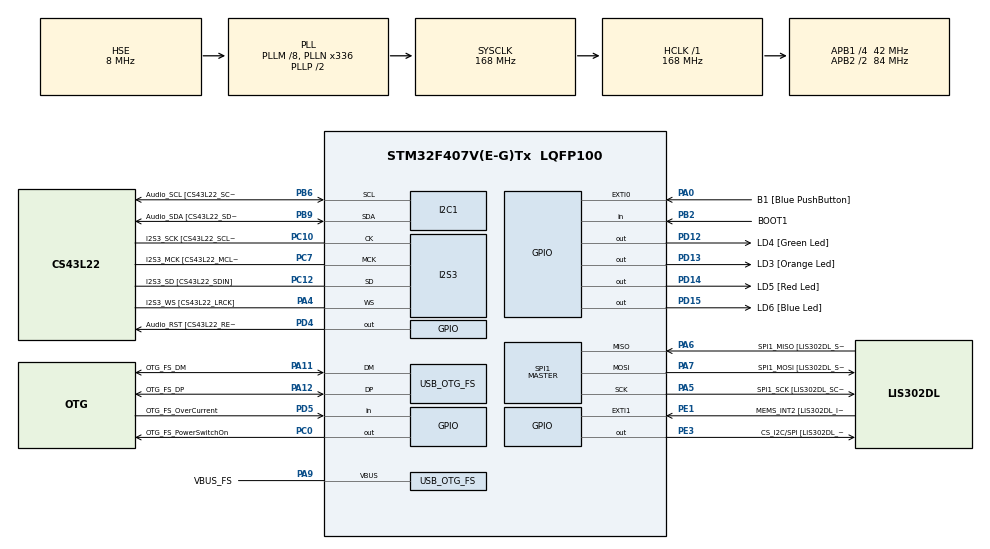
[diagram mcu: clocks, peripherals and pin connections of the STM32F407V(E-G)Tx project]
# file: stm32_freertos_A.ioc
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FREERTOS.Tasks01=defaultTask,24,128,StartDefaultTask,Default,NULL,Dynamic,NULL,NULL
I2S3.AudioFreq-Half_Duplex_Master=I2S_AUDIOFREQ_96K
I2S3.ErrorAudioFreq=-2.34 %
I2S3.ErrorAudioFreq-Half_Duplex_Master=0.8 %
I2S3.FullDuplexMode=I2S_FULLDUPLEXMODE_DISABLE
I2S3.Instance=SPI$Index
I2S3.RealAudioFreq=93.75 KHz
I2S3.RealAudioFreq-Half_Duplex_Master=96.774 KHz
I2S3.VirtualMode=I2S_MODE_MASTER
Mcu.Family=STM32F4
Mcu.Name=STM32F407V(E-G)Tx
Mcu.Package=LQFP100
NVIC.OTG_FS_IRQn=true\:0\:0\:false\:false\:true\:true\:true\:true
NVIC.PriorityGroup=NVIC_PRIORITYGROUP_4
PA0-WKUP.GPIO_Label=B1 [Blue PushButton]
PA0-WKUP.GPIO_ModeDefaultEXTI=GPIO_MODE_EVT_RISING
PA0-WKUP.GPIO_PuPd=GPIO_NOPULL
PA0-WKUP.Signal=GPXTI0
PA10.GPIO_Label=OTG_FS_ID
PA10.GPIO_Mode=GPIO_MODE_AF_PP
PA10.GPIO_PuPd=GPIO_NOPULL
PA10.GPIO_Speed=GPIO_SPEED_FREQ_LOW
PA10.Signal=USB_OTG_FS_ID
PA11.GPIO_Label=OTG_FS_DM
PA11.GPIO_Mode=GPIO_MODE_AF_PP
PA11.GPIO_PuPd=GPIO_NOPULL
PA11.GPIO_Speed=GPIO_SPEED_FREQ_LOW
PA11.Mode=Host_Only
PA11.Signal=USB_OTG_FS_DM
PA12.GPIO_Label=OTG_FS_DP
PA12.GPIO_Mode=GPIO_MODE_AF_PP
PA12.GPIO_PuPd=GPIO_NOPULL
PA12.GPIO_Speed=GPIO_SPEED_FREQ_LOW
PA12.Mode=Host_Only
PA12.Signal=USB_OTG_FS_DP
PA13.GPIO_Label=SWDIO
PA13.Mode=Serial_Wire
PA13.Signal=SYS_JTMS-SWDIO
PA14.GPIO_Label=SWCLK
PA14.Mode=Serial_Wire
PA14.Signal=SYS_JTCK-SWCLK
PA4.GPIO_Label=I2S3_WS [CS43L22_LRCK]
PA4.GPIO_Mode=GPIO_MODE_AF_PP
PA4.GPIO_PuPd=GPIO_NOPULL
PA4.GPIO_Speed=GPIO_SPEED_FREQ_LOW
PA4.Mode=Half_Duplex_Master
PA4.Signal=I2S3_WS
PA5.GPIO_Label=SPI1_SCK [LIS302DL_SCL/SPC]
PA5.GPIO_Mode=GPIO_MODE_AF_PP
PA5.GPIO_PuPd=GPIO_NOPULL
PA5.GPIO_Speed=GPIO_SPEED_FREQ_LOW
PA5.Mode=Full_Duplex_Master
PA5.Signal=SPI1_SCK
PA6.GPIO_Label=SPI1_MISO [LIS302DL_SDO]
PA6.GPIO_Mode=GPIO_MODE_AF_PP
PA6.GPIO_PuPd=GPIO_NOPULL
PA6.GPIO_Speed=GPIO_SPEED_FREQ_LOW
PA6.Mode=Full_Duplex_Master
PA6.Signal=SPI1_MISO
PA7.GPIO_Label=SPI1_MOSI [LIS302DL_SDA/SDI/SDO]
PA7.GPIO_Mode=GPIO_MODE_AF_PP
PA7.GPIO_PuPd=GPIO_NOPULL
PA7.GPIO_Speed=GPIO_SPEED_FREQ_LOW
PA7.Mode=Full_Duplex_Master
PA7.Signal=SPI1_MOSI
PA9.GPIO_Label=VBUS_FS
PA9.GPIO_Mode=GPIO_MODE_INPUT
PA9.GPIO_PuPd=GPIO_NOPULL
PA9.Mode=Activate_VBUS
PA9.Signal=USB_OTG_FS_VBUS
PB10.GPIO_Label=CLK_IN [MP45DT02_CLK]
PB10.GPIO_Mode=GPIO_MODE_AF_PP
PB10.GPIO_PuPd=GPIO_NOPULL
PB10.GPIO_Speed=GPIO_SPEED_FREQ_LOW
PB10.Signal=I2S2_CK
PB2.GPIO_Label=BOOT1
PB2.GPIO_Mode=GPIO_MODE_INPUT
PB2.GPIO_PuPd=GPIO_NOPULL
PB2.Signal=GPIO_Input
PB3.GPIO_Label=SWO
PB3.Signal=SYS_JTDO-SWO
PB6.GPIO_Label=Audio_SCL [CS43L22_SCL]
PB6.GPIO_Mode=GPIO_MODE_AF_OD
PB6.GPIO_Pu=GPIO_PULLUP
PB6.GPIO_PuPd=GPIO_NOPULL
PB6.GPIO_Speed=GPIO_SPEED_FREQ_LOW
PB6.Mode=I2C
PB6.Signal=I2C1_SCL
PB9.GPIO_Label=Audio_SDA [CS43L22_SDA]
PB9.GPIO_Mode=GPIO_MODE_AF_OD
PB9.GPIO_Pu=GPIO_PULLUP
PB9.GPIO_PuPd=GPIO_NOPULL
PB9.GPIO_Speed=GPIO_SPEED_FREQ_LOW
PB9.Mode=I2C
PB9.Signal=I2C1_SDA
PC0.GPIO_Label=OTG_FS_PowerSwitchOn
PC0.GPIO_PuPd=GPIO_NOPULL
PC0.GPIO_Speed=GPIO_SPEED_FREQ_LOW
PC0.PinState=GPIO_PIN_SET
PC0.Signal=GPIO_Output
PC10.GPIO_Label=I2S3_SCK [CS43L22_SCLK]
PC10.GPIO_Mode=GPIO_MODE_AF_PP
PC10.GPIO_PuPd=GPIO_NOPULL
PC10.GPIO_Speed=GPIO_SPEED_FREQ_LOW
PC10.Mode=Half_Duplex_Master
PC10.Signal=I2S3_CK
PC12.GPIO_Label=I2S3_SD [CS43L22_SDIN]
PC12.GPIO_Mode=GPIO_MODE_AF_PP
PC12.GPIO_PuPd=GPIO_NOPULL
PC12.GPIO_Speed=GPIO_SPEED_FREQ_LOW
PC12.Mode=Half_Duplex_Master
PC12.Signal=I2S3_SD
PC14-OSC32_IN.GPIO_Label=PC14-OSC32_IN
PC14-OSC32_IN.Mode=LSE-External-Oscillator
PC14-OSC32_IN.Signal=RCC_OSC32_IN
PC15-OSC32_OUT.GPIO_Label=PC15-OSC32_OUT
PC15-OSC32_OUT.Mode=LSE-External-Oscillator
PC15-OSC32_OUT.Signal=RCC_OSC32_OUT
PC3.GPIO_Label=PDM_OUT [MP45DT02_DOUT]
PC3.GPIO_Mode=GPIO_MODE_AF_PP
PC3.GPIO_PuPd=GPIO_NOPULL
PC3.GPIO_Speed=GPIO_SPEED_FREQ_LOW
PC3.Signal=I2S2_SD
PC7.GPIO_Label=I2S3_MCK [CS43L22_MCLK]
PC7.GPIO_Mode=GPIO_MODE_AF_PP
PC7.GPIO_PuPd=GPIO_NOPULL
PC7.GPIO_Speed=GPIO_SPEED_FREQ_LOW
PC7.Mode=Master_Clock_Activated
PC7.Signal=I2S3_MCK
PD12.GPIO_Label=LD4 [Green Led]
PD12.GPIO_PuPd=GPIO_NOPULL
PD12.GPIO_Speed=GPIO_SPEED_FREQ_LOW
PD12.Signal=GPIO_Output
PD13.GPIO_Label=LD3 [Orange Led]
PD13.GPIO_PuPd=GPIO_NOPULL
PD13.GPIO_Speed=GPIO_SPEED_FREQ_LOW
PD13.Signal=GPIO_Output
PD14.GPIO_Label=LD5 [Red Led]
PD14.GPIO_PuPd=GPIO_NOPULL
PD14.GPIO_Speed=GPIO_SPEED_FREQ_LOW
PD14.Signal=GPIO_Output
PD15.GPIO_Label=LD6 [Blue Led]
PD15.GPIO_PuPd=GPIO_NOPULL
PD15.GPIO_Speed=GPIO_SPEED_FREQ_LOW
PD15.Signal=GPIO_Output
PD4.GPIO_Label=Audio_RST [CS43L22_RESET]
PD4.GPIO_PuPd=GPIO_NOPULL
PD4.GPIO_Speed=GPIO_SPEED_FREQ_LOW
PD4.Signal=GPIO_Output
PD5.GPIO_Label=OTG_FS_OverCurrent
PD5.GPIO_Mode=GPIO_MODE_INPUT
PD5.GPIO_PuPd=GPIO_NOPULL
PD5.Signal=GPIO_Input
PE1.GPIO_Label=MEMS_INT2 [LIS302DL_INT2]
PE1.GPIO_ModeDefaultEXTI=GPIO_MODE_EVT_RISING
PE1.GPIO_PuPd=GPIO_NOPULL
PE1.Signal=GPXTI1
PE3.GPIO_Label=CS_I2C/SPI [LIS302DL_CS_I2C/SPI]
PE3.GPIO_PuPd=GPIO_NOPULL
PE3.GPIO_Speed=GPIO_SPEED_FREQ_LOW
PE3.Signal=GPIO_Output
PH0-OSC_IN.GPIO_Label=PH0-OSC_IN
PH0-OSC_IN.Mode=HSE-External-Oscillator
PH0-OSC_IN.Signal=RCC_OSC_IN
PH1-OSC_OUT.GPIO_Label=PH1-OSC_OUT
PH1-OSC_OUT.Mode=HSE-External-Oscillator
PH1-OSC_OUT.Signal=RCC_OSC_OUT
ProjectManager.HeapSize=0x200
ProjectManager.StackSize=0x400
ProjectManager.TargetToolchain=STM32CubeIDE
RCC.48MHZClocksFreq_Value=48000000
RCC.AHBFreq_Value=168000000
RCC.APB1CLKDivider=RCC_HCLK_DIV4
RCC.APB1Freq_Value=42000000
RCC.APB1TimFreq_Value=84000000
RCC.APB2CLKDivider=RCC_HCLK_DIV2
RCC.APB2Freq_Value=84000000
RCC.APB2TimFreq_Value=168000000
RCC.CortexFreq_Value=168000000
RCC.HCLKFreq_Value=168000000
RCC.HSE_VALUE=8000000
RCC.HSI_VALUE=16000000
RCC.PLLM=8
RCC.PLLN=336
RCC.PLLQ=7
RCC.SYSCLKFreq_VALUE=168000000
RCC.SYSCLKSource=RCC_SYSCLKSOURCE_PLLCLK
RCC.VCOOutputFreq_Value=336000000
SPI1.BaudRatePrescaler-Full_Duplex_Master=SPI_BAUDRATEPRESCALER_2
SPI1.CalculateBaudRate-Full_Duplex_Master=42.0 MBits/s
SPI1.Direction=SPI_DIRECTION_2LINES
SPI1.Mode=SPI_MODE_MASTER
SPI1.Mode-Full_Duplex_Master=SPI_MODE_MASTER
SPI1.VirtualType=VM_MASTER
USB_HOST.BSP.number=1
USB_HOST.USBH_HandleTypeDef-CDC_FS=hUsbHostFS
USB_HOST.VirtualModeFS=Cdc
USB_HOST0.BSP.STBoard=false
USB_HOST0.BSP.api=Unknown
USB_HOST0.BSP.instance=PC0
USB_HOST0.BSP.ip=GPIO
USB_HOST0.BSP.mode=Output
USB_HOST0.BSP.name=Drive_VBUS_FS
USB_HOST0.BSP.solution=PC0
USB_OTG_FS.VirtualMode=Host_Only
USB_OTG_FS.phy_itface=HCD_PHY_EMBEDDED
VP_USB_HOST_VS_USB_HOST_CDC_FS.Mode=CDC_FS
board=STM32F407G-DISC1

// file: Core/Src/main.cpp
/* USER CODE BEGIN Header */
/**
  ******************************************************************************
  * @file           : main.c
  * @brief          : Main program body
  ******************************************************************************
  * @attention
  *
  * Copyright (c) 2026 STMicroelectronics.
  * All rights reserved.
  *
  * This software is licensed under terms that can be found in the LICENSE file
  * in the root directory of this software component.
  * If no LICENSE file comes with this software, it is provided AS-IS.
  *
  * C/C++ FreeRtos app on: STM32F407G-DISC1
  *
  * Built in LEDS:
  *   Green: PD12
  *   Orange: PD13
  *   Red:    PD14
  *   Blue:   PD15
  *
  *
  *   * FDTI USB-SERIAL converter
  *
  * TXD	PA3 (USART2_RX) - orange
	* RXD	PA2 (USART2_TX) - yellow
	* GND	GND on STM32 board - black
  *
  * # start picocom on Linux to connect to the STM32 board via USB-Serial converter:
  * picocom -b 115200 --omap crlf --imap lfcrlf /dev/ttyUSB0
  * picocom -b 115200 --omap crlf --imap lfcrlf /dev/ttyUSB0
  * (picocom -b 115200 /dev/ttyUSB0)
  *
  * # exit picocom:
  * Exit with Ctrl-A then Ctrl-X.
  *
  * DBG01T347005hello       (Ctrl+C, then right click in the picocom window to paste the text)
  *
  * -------------------------------------------
  * // node js SerLink interafce
  *
  * rob@debian:~/Software/Projects/Arduino/ArdMod/Arduino1/PC/Transport/node_js$
  * npm run quick-start
  *
  * // code
  * const portName = "/dev/ttyUSB0"; // linux usb-serial adapter (STM32 uart etc.)
    const baudRate = 115200; // STM32 uart

    stm32SerLink(portName, baudRate).catch(err => {
      console.error("Error in stm32SerLink:", err);
    });
  *
  ******************************************************************************
  */
/* USER CODE END Header */
#include "main.h"
#include "usb_host.h"
#include "lib.hpp"
#include "timer2.h"
#include "timer3.h"
#include "uart2.h"
#include "queue.h"
#include "Reader.hpp"
#include "Transport.hpp"
#include "Button.hpp"
#include "Led.hpp"
#include "PWM.hpp"
#include "TC78H611FNG.hpp"
#include <cstdio>
#include <string.h>
#include <stdlib.h>

I2C_HandleTypeDef hi2c1;

I2S_HandleTypeDef hi2s3;

SPI_HandleTypeDef hspi1;

//--------------------------------------------------------------
// Uart2 Rx queue for FreeRTOS - created in uart2_init()
StaticQueue_t uart2StaticQueue;
char uart2QueueStorageArea[UART2_QUEUE_LENGTH * sizeof(UartMessage_t)];
QueueHandle_t uart2Queue;

// Uart2 SerLink writer and reader
SerLink::Writer writer0(WRITER_CONFIG__WRITER0_ID);
SerLink::Reader reader0(READER_CONFIG__READER0_ID);

// SerLink0 transport dispatch queue - created here (rather than owned
// internally by Transport) and handed in via transport0.init()
#define TRANSPORT0_QUEUE_LENGTH 5
StaticQueue_t transport0StaticQueue;
uint8_t transport0QueueStorageArea[TRANSPORT0_QUEUE_LENGTH * sizeof(SerLink::FrameMsg)];
QueueHandle_t transport0Queue;

SerLink::Transport transport0(&writer0, &reader0);

// User button (PA0), active high
Button button0(B1_GPIO_Port, B1_Pin, true);

// Board LEDs (GPIOD)
Led ledGreen(GPIOD, GPIO_PIN_12);
Led ledOrange(GPIOD, GPIO_PIN_13);
Led ledRed(GPIOD, GPIO_PIN_14);
Led ledBlue(GPIOD, GPIO_PIN_15);

// PWM module
 PWM pwm0(GPIOC, GPIO_PIN_6, PWM_FREQ_1KHZ);
//PWM pwm0(GPIOD, GPIO_PIN_12, PWM_FREQ_1KHZ);

TC78H611FNG motor0(GPIOC, GPIO_PIN_8, GPIOC, GPIO_PIN_9, PWM_FREQ_1KHZ);
//--------------------------------------------------------------

/* Definitions for defaultTask */
osThreadId_t defaultTaskHandle;
const osThreadAttr_t defaultTask_attributes = {
  .name = "defaultTask",
  .stack_size = 512 * 4,
  .priority = (osPriority_t) osPriorityNormal,
};
/* Definitions for ledTask */
osThreadId_t ledTaskHandle;
const osThreadAttr_t ledTask_attributes = {
  .name = "ledTask",
  .stack_size = 128 * 4,
  .priority = (osPriority_t) osPriorityNormal,
};
/* Definitions for uartTask */
osThreadId_t uartTaskHandle;
const osThreadAttr_t uartTask_attributes = {
  .name = "uartTask",
  .stack_size = 512 * 4,
  .priority = (osPriority_t) osPriorityNormal,
};
/* Definitions for writer0Task */
osThreadId_t writer0TaskHandle;
const osThreadAttr_t writer0Task_attributes = {
  .name = "writer0Task",
  .stack_size = 512 * 4,
  .priority = (osPriority_t) osPriorityNormal,
};

/* Definitions for reader0Task */
osThreadId_t reader0TaskHandle;
const osThreadAttr_t reader0Task_attributes = {
  .name = "reader0Task",
  .stack_size = 512 * 4,
  .priority = (osPriority_t) osPriorityNormal,
};

/* Definitions for serLink0Task */
osThreadId_t serLink0TaskHandle;
const osThreadAttr_t serLink0Task_attributes = {
  .name = "serLink0Task",
  .stack_size = 512 * 4,
  .priority = (osPriority_t) osPriorityNormal,
};

/* Definitions for buttonTask */
osThreadId_t buttonTaskHandle;
const osThreadAttr_t buttonTask_attributes = {
  .name = "buttonTask",
  .stack_size = 128 * 4,
  .priority = (osPriority_t) osPriorityNormal,
};

void SystemClock_Config(void);
static void MX_GPIO_Init(void);
static void MX_I2C1_Init(void);
static void MX_I2S3_Init(void);
static void MX_SPI1_Init(void);
void MX_USB_HOST_Process(void);
void StartDefaultTask(void *argument);
void StartLedTask(void *argument);
void startUartTask(void *argument);
void startWriter0Task(void *argument);
void startReader0Task(void *argument);
void startSerLink0Task(void *argument);
void startButtonTask(void *argument);

// This is called by transport0 when a frame is received.
void transport0ReceiveCallback(const char* data, uint16_t dataLen){ ledOrange.flash(1, 1, 0, true);}

// This is called by transport0 when an ack frame is received for a frame that was sent with ack=true.
void transport0AckCallback(const char* data, uint16_t dataLen){ ledBlue.flash(1, 1, 0, true);}

// Populates the ack packet payload, for the debug socket, if the received frame has a certain payload.
bool debugSockInstantHandler(SerLink::Frame &rxFrame, uint16_t* dataLen, char* data);

void pwm00SockRxCallback(const char* data, uint16_t dataLen);

void motor0SockRxCallback(const char* data, uint16_t dataLen);

int main(void)
{

  /* MCU Configuration--------------------------------------------------------*/

  /* Reset of all peripherals, Initializes the Flash interface and the Systick. */
  HAL_Init();

  /* Configure the system clock */
  SystemClock_Config();

  /* Initialize all configured peripherals */
  MX_GPIO_Init();
  MX_I2C1_Init();
  MX_I2S3_Init();
  MX_SPI1_Init();
  MX_USB_HOST_Init();
  /* USER CODE BEGIN 2 */
  timer2_init();
  timer3_init();
  uart2_init();
  /* USER CODE END 2 */

  /* Init scheduler */
  osKernelInitialize();

  /* USER CODE BEGIN RTOS_QUEUES */
  /* add queues, ... */
  // Created synchronously here (rather than inside startSerLink0Task) so
  // transport0.queue is guaranteed valid before any task - including
  // startReader0Task, which passes it to reader0.init() - can run.
  transport0Queue = xQueueCreateStatic(TRANSPORT0_QUEUE_LENGTH, sizeof(SerLink::FrameMsg),
    transport0QueueStorageArea, &transport0StaticQueue);
  transport0.init(transport0Queue, transport0ReceiveCallback, transport0AckCallback);

  writer0.init();
  reader0.init(uart2Queue, &writer0, transport0.queue);

  /* USER CODE END RTOS_QUEUES */

  /* Create the thread(s) */
  /* creation of defaultTask */
  defaultTaskHandle = osThreadNew(StartDefaultTask, NULL, &defaultTask_attributes);

  /* creation of ledTask */
  ledTaskHandle = osThreadNew(StartLedTask, NULL, &ledTask_attributes);

  /* creation of uartTask */
  //uartTaskHandle = osThreadNew(startUartTask, NULL, &uartTask_attributes);

  /* creation of writer0Task */
  writer0TaskHandle = osThreadNew(startWriter0Task, NULL, &writer0Task_attributes);

  reader0TaskHandle = osThreadNew(startReader0Task, NULL, &reader0Task_attributes);

  serLink0TaskHandle = osThreadNew(startSerLink0Task, NULL, &serLink0Task_attributes);

  buttonTaskHandle = osThreadNew(startButtonTask, NULL, &buttonTask_attributes);

  /* Start scheduler */
  osKernelStart();

  /* We should never get here as control is now taken by the scheduler */
  /* Infinite loop */
  while (1)
  {

  }
}

void SystemClock_Config(void)
{
  RCC_OscInitTypeDef RCC_OscInitStruct = {0};
  RCC_ClkInitTypeDef RCC_ClkInitStruct = {0};

  /** Configure the main internal regulator output voltage
  */
  __HAL_RCC_PWR_CLK_ENABLE();
  __HAL_PWR_VOLTAGESCALING_CONFIG(PWR_REGULATOR_VOLTAGE_SCALE1);

  /** Initializes the RCC Oscillators according to the specified parameters
  * in the RCC_OscInitTypeDef structure.
  */
  RCC_OscInitStruct.OscillatorType = RCC_OSCILLATORTYPE_HSE;
  RCC_OscInitStruct.HSEState = RCC_HSE_ON;
  RCC_OscInitStruct.PLL.PLLState = RCC_PLL_ON;
  RCC_OscInitStruct.PLL.PLLSource = RCC_PLLSOURCE_HSE;
  RCC_OscInitStruct.PLL.PLLM = 8;
  RCC_OscInitStruct.PLL.PLLN = 336;
  RCC_OscInitStruct.PLL.PLLP = RCC_PLLP_DIV2;
  RCC_OscInitStruct.PLL.PLLQ = 7;
  if (HAL_RCC_OscConfig(&RCC_OscInitStruct) != HAL_OK)
  {
    Error_Handler();
  }

  /** Initializes the CPU, AHB and APB buses clocks
  */
  RCC_ClkInitStruct.ClockType = RCC_CLOCKTYPE_HCLK|RCC_CLOCKTYPE_SYSCLK
                              |RCC_CLOCKTYPE_PCLK1|RCC_CLOCKTYPE_PCLK2;
  RCC_ClkInitStruct.SYSCLKSource = RCC_SYSCLKSOURCE_PLLCLK;
  RCC_ClkInitStruct.AHBCLKDivider = RCC_SYSCLK_DIV1;
  RCC_ClkInitStruct.APB1CLKDivider = RCC_HCLK_DIV4;
  RCC_ClkInitStruct.APB2CLKDivider = RCC_HCLK_DIV2;

  if (HAL_RCC_ClockConfig(&RCC_ClkInitStruct, FLASH_LATENCY_5) != HAL_OK)
  {
    Error_Handler();
  }
}

static void MX_I2C1_Init(void)
{

  hi2c1.Instance = I2C1;
  hi2c1.Init.ClockSpeed = 100000;
  hi2c1.Init.DutyCycle = I2C_DUTYCYCLE_2;
  hi2c1.Init.OwnAddress1 = 0;
  hi2c1.Init.AddressingMode = I2C_ADDRESSINGMODE_7BIT;
  hi2c1.Init.DualAddressMode = I2C_DUALADDRESS_DISABLE;
  hi2c1.Init.OwnAddress2 = 0;
  hi2c1.Init.GeneralCallMode = I2C_GENERALCALL_DISABLE;
  hi2c1.Init.NoStretchMode = I2C_NOSTRETCH_DISABLE;
  if (HAL_I2C_Init(&hi2c1) != HAL_OK)
  {
    Error_Handler();
  }

}

static void MX_I2S3_Init(void)
{

  hi2s3.Instance = SPI3;
  hi2s3.Init.Mode = I2S_MODE_MASTER_TX;
  hi2s3.Init.Standard = I2S_STANDARD_PHILIPS;
  hi2s3.Init.DataFormat = I2S_DATAFORMAT_16B;
  hi2s3.Init.MCLKOutput = I2S_MCLKOUTPUT_ENABLE;
  hi2s3.Init.AudioFreq = I2S_AUDIOFREQ_96K;
  hi2s3.Init.CPOL = I2S_CPOL_LOW;
  hi2s3.Init.ClockSource = I2S_CLOCK_PLL;
  hi2s3.Init.FullDuplexMode = I2S_FULLDUPLEXMODE_DISABLE;
  if (HAL_I2S_Init(&hi2s3) != HAL_OK)
  {
    Error_Handler();
  }

}

static void MX_SPI1_Init(void)
{

  /* SPI1 parameter configuration*/
  hspi1.Instance = SPI1;
  hspi1.Init.Mode = SPI_MODE_MASTER;
  hspi1.Init.Direction = SPI_DIRECTION_2LINES;
  hspi1.Init.DataSize = SPI_DATASIZE_8BIT;
  hspi1.Init.CLKPolarity = SPI_POLARITY_LOW;
  hspi1.Init.CLKPhase = SPI_PHASE_1EDGE;
  hspi1.Init.NSS = SPI_NSS_SOFT;
  hspi1.Init.BaudRatePrescaler = SPI_BAUDRATEPRESCALER_2;
  hspi1.Init.FirstBit = SPI_FIRSTBIT_MSB;
  hspi1.Init.TIMode = SPI_TIMODE_DISABLE;
  hspi1.Init.CRCCalculation = SPI_CRCCALCULATION_DISABLE;
  hspi1.Init.CRCPolynomial = 10;
  if (HAL_SPI_Init(&hspi1) != HAL_OK)
  {
    Error_Handler();
  }

}

static void MX_GPIO_Init(void)
{
  GPIO_InitTypeDef GPIO_InitStruct = {0};

  /* GPIO Ports Clock Enable */
  __HAL_RCC_GPIOE_CLK_ENABLE();
  __HAL_RCC_GPIOC_CLK_ENABLE();
  __HAL_RCC_GPIOH_CLK_ENABLE();
  __HAL_RCC_GPIOA_CLK_ENABLE();
  __HAL_RCC_GPIOB_CLK_ENABLE();
  __HAL_RCC_GPIOD_CLK_ENABLE();

  /*Configure GPIO pin Output Level */
  HAL_GPIO_WritePin(CS_I2C_SPI_GPIO_Port, CS_I2C_SPI_Pin, GPIO_PIN_RESET);

  /*Configure GPIO pin Output Level */
  HAL_GPIO_WritePin(OTG_FS_PowerSwitchOn_GPIO_Port, OTG_FS_PowerSwitchOn_Pin, GPIO_PIN_SET);

  /*Configure GPIO pin Output Level */
  HAL_GPIO_WritePin(GPIOD, LD4_Pin|LD3_Pin|LD5_Pin|LD6_Pin
                          |Audio_RST_Pin, GPIO_PIN_RESET);

  /*Configure GPIO pin : CS_I2C_SPI_Pin */
  GPIO_InitStruct.Pin = CS_I2C_SPI_Pin;
  GPIO_InitStruct.Mode = GPIO_MODE_OUTPUT_PP;
  GPIO_InitStruct.Pull = GPIO_NOPULL;
  GPIO_InitStruct.Speed = GPIO_SPEED_FREQ_LOW;
  HAL_GPIO_Init(CS_I2C_SPI_GPIO_Port, &GPIO_InitStruct);

  /*Configure GPIO pin : OTG_FS_PowerSwitchOn_Pin */
  GPIO_InitStruct.Pin = OTG_FS_PowerSwitchOn_Pin;
  GPIO_InitStruct.Mode = GPIO_MODE_OUTPUT_PP;
  GPIO_InitStruct.Pull = GPIO_NOPULL;
  GPIO_InitStruct.Speed = GPIO_SPEED_FREQ_LOW;
  HAL_GPIO_Init(OTG_FS_PowerSwitchOn_GPIO_Port, &GPIO_InitStruct);

  /*Configure GPIO pin : PDM_OUT_Pin */
  GPIO_InitStruct.Pin = PDM_OUT_Pin;
  GPIO_InitStruct.Mode = GPIO_MODE_AF_PP;
  GPIO_InitStruct.Pull = GPIO_NOPULL;
  GPIO_InitStruct.Speed = GPIO_SPEED_FREQ_LOW;
  GPIO_InitStruct.Alternate = GPIO_AF5_SPI2;
  HAL_GPIO_Init(PDM_OUT_GPIO_Port, &GPIO_InitStruct);

  /*Configure GPIO pin : B1_Pin */
  GPIO_InitStruct.Pin = B1_Pin;
  GPIO_InitStruct.Mode = GPIO_MODE_INPUT;
  GPIO_InitStruct.Pull = GPIO_NOPULL;
  HAL_GPIO_Init(B1_GPIO_Port, &GPIO_InitStruct);

  /*Configure GPIO pin : BOOT1_Pin */
  GPIO_InitStruct.Pin = BOOT1_Pin;
  GPIO_InitStruct.Mode = GPIO_MODE_INPUT;
  GPIO_InitStruct.Pull = GPIO_NOPULL;
  HAL_GPIO_Init(BOOT1_GPIO_Port, &GPIO_InitStruct);

  /*Configure GPIO pin : CLK_IN_Pin */
  GPIO_InitStruct.Pin = CLK_IN_Pin;
  GPIO_InitStruct.Mode = GPIO_MODE_AF_PP;
  GPIO_InitStruct.Pull = GPIO_NOPULL;
  GPIO_InitStruct.Speed = GPIO_SPEED_FREQ_LOW;
  GPIO_InitStruct.Alternate = GPIO_AF5_SPI2;
  HAL_GPIO_Init(CLK_IN_GPIO_Port, &GPIO_InitStruct);

  /*Configure GPIO pins : LD4_Pin LD3_Pin LD5_Pin LD6_Pin
                           Audio_RST_Pin */
  GPIO_InitStruct.Pin = LD4_Pin|LD3_Pin|LD5_Pin|LD6_Pin
                          |Audio_RST_Pin;
  GPIO_InitStruct.Mode = GPIO_MODE_OUTPUT_PP;
  GPIO_InitStruct.Pull = GPIO_NOPULL;
  GPIO_InitStruct.Speed = GPIO_SPEED_FREQ_LOW;
  HAL_GPIO_Init(GPIOD, &GPIO_InitStruct);

  /*Configure GPIO pin : OTG_FS_OverCurrent_Pin */
  GPIO_InitStruct.Pin = OTG_FS_OverCurrent_Pin;
  GPIO_InitStruct.Mode = GPIO_MODE_INPUT;
  GPIO_InitStruct.Pull = GPIO_NOPULL;
  HAL_GPIO_Init(OTG_FS_OverCurrent_GPIO_Port, &GPIO_InitStruct);

  /*Configure GPIO pin : MEMS_INT2_Pin */
  GPIO_InitStruct.Pin = MEMS_INT2_Pin;
  GPIO_InitStruct.Mode = GPIO_MODE_EVT_RISING;
  GPIO_InitStruct.Pull = GPIO_NOPULL;
  HAL_GPIO_Init(MEMS_INT2_GPIO_Port, &GPIO_InitStruct);

}

/* USER CODE BEGIN 4 */
void vApplicationStackOverflowHook(xTaskHandle xTask, signed char *pcTaskName)
{
  /* A task's stack overflowed its bounds; xTask/pcTaskName identify which one.
     Kept as a distinct spin (not Error_Handler) so it's easy to tell apart
     from a generic HardFault while debugging. */
  __disable_irq();
  for (;;)
  {
  }
}

void vApplicationMallocFailedHook(void)
{
  /* pvPortMalloc() returned NULL - the FreeRTOS heap (configTOTAL_HEAP_SIZE) is exhausted. */
  __disable_irq();
  for (;;)
  {
  }
}
/* USER CODE END 4 */

void StartDefaultTask(void *argument)
{
  /* USER CODE BEGIN 5 */
  //HAL_GPIO_WritePin(GPIOD, GPIO_PIN_13, GPIO_PIN_SET);   // orange
  //HAL_GPIO_WritePin(GPIOD, GPIO_PIN_14, GPIO_PIN_SET); // red

  SerLink::Socket* debugSocket = transport0.acquireSocket("DBG00", nullptr, debugSockInstantHandler);

  SerLink::Socket* pwm0Socket = transport0.acquireSocket("PWM00", pwm00SockRxCallback, nullptr);

  SerLink::Socket* motor0Socket = transport0.acquireSocket("MOTR0", motor0SockRxCallback, nullptr);

  pwm0.init();
  pwm0.setPercent(30); // 30% duty cycle

  // Direction defaults to idle, which holds BOTH IN pins low whatever the
  // percent is - so a direction is needed before anything appears on the
  // output pins.
  motor0.setPercent(30); // 30% duty cycle
  motor0.setDirection(TC78H611FNG::reverse); // sets IN1 low, IN2 PWM

  /* Infinite loop */
  for(;;)
  {
    MX_USB_HOST_Process();
    osDelay(1);
  }
  /* USER CODE END 5 */
}

/* USER CODE BEGIN Header_StartLedTask */
/* USER
 * CODE END Header_StartLedTask */
void StartLedTask(void *argument)
{
  TickType_t xLastWakeTime = xTaskGetTickCount();
  const TickType_t xFrequency = pdMS_TO_TICKS(Led::PERIOD_MS);

  ledGreen.flash(0, 2, 2, false); // continuous blink: 500 ms on / 500 ms off

  /* Infinite loop */
  for(;;)
  {
    ledGreen.run();
    ledOrange.run();
    ledRed.run();
    ledBlue.run();

    vTaskDelayUntil(&xLastWakeTime, xFrequency);
  }
  /* USER CODE END StartLedTask */
}

void startUartTask(void *argument)
{
  /* USER CODE BEGIN startUartTask */
  // set red led on
  //HAL_GPIO_WritePin(GPIOD, GPIO_PIN_14, GPIO_PIN_SET);

  TickType_t xLastWakeTime;
  const TickType_t xFrequency = pdMS_TO_TICKS(10); // 10 ms period

  char rxData[UART2__BUFFER_LEN];
  char txData[UART2__BUFFER_LEN + 8]; // "echo: " + payload + "\n"
  uint16_t rxLen;

  UartMessage_t rxMsg;

  SerLink::Frame txFrame("TST01", SerLink::Frame::TYPE_UNIDIRECTION, 407, 0, nullptr);

  /* Infinite loop */
  for(;;)
  {
    if (xQueueReceive(uart2Queue, &rxMsg, portMAX_DELAY) == pdTRUE)
    {
      if((rxMsg.type == UART_MSG_TYPE__FRAME_RX) && (rxMsg.len > 1))
      {
        txFrame.setData(rxMsg.len - 1, rxMsg.data);
        writer0.sendFrame(&txFrame);

        txFrame.incRollCode();

        // int txLen = snprintf(txData, sizeof(txData), "echo: %.*s\n", (int)rxMsg.len, rxMsg.data);

        // HAL_UART_Transmit(&huart2, (uint8_t *)txData, txLen, HAL_MAX_DELAY);
      }

    }

    // if (uart2_frameRx(rxData, &rxLen))
    // {
    //   // trim the trailing CR/LF that terminated the frame
    //   while (rxLen > 0 && (rxData[rxLen - 1] == '\n' || rxData[rxLen - 1] == '\r'))
    //   {
    //     rxLen--;
    //   }

    //   int txLen = snprintf(txData, sizeof(txData), "echo: %.*s\n", (int)rxLen, rxData);
    //   HAL_UART_Transmit(&huart2, (uint8_t *)txData, txLen, HAL_MAX_DELAY);
    // }

    // //osDelay(10);
    // vTaskDelayUntil(&xLastWakeTime, xFrequency);

  } // end of infinite loop
  /* USER CODE END startUartTask */
}

void startWriter0Task(void *argument)
{
  /* USER CODE BEGIN startWriter0Task */
  //writer0.init();

  for(;;)
  {
    writer0.run();
  }
  /* USER CODE END startWriter0Task */
}

void startReader0Task(void *argument)
{
  /* USER CODE BEGIN startReader0Task */
  //reader0.init(uart2Queue, &writer0, transport0.queue);

  for(;;)
  {
    reader0.run();
  }
  /* USER CODE END startReader0Task */
}

void startSerLink0Task(void *argument)
{
  /* USER CODE BEGIN startSerLink0Task */
  for(;;)
  {
    transport0.run();
  }
  /* USER CODE END startSerLink0Task */
}

void startButtonTask(void *argument)
{
  /* USER CODE BEGIN startButtonTask */
  TickType_t xLastWakeTime = xTaskGetTickCount();
  const TickType_t xFrequency = pdMS_TO_TICKS(Button::POLL_PERIOD_MS);

  // SerLink::FrameMsg frameMsg;
  // frameMsg.type = SerLink::FrameMsg::TYPE_TX;
  // frameMsg.frame.setProtocol("BUT00");
  // frameMsg.frame.type = SerLink::Frame::TYPE_TRANSMISSION;
  // frameMsg.frame.rollCode = 123;
  // frameMsg.frame.setData(4, "abcd");

  SerLink::Socket* button0Socket = transport0.acquireSocket("BUT00");

  for(;;)
  {
    button0.run();

    if(button0.getEvent() == Button::Pressed)
    {
      ledRed.flash(1, 1, 0, true);

      //xQueueSend(transport0.queue, &frameMsg, 0);
      button0Socket->sendData("0P", 2, true);
    }

    vTaskDelayUntil(&xLastWakeTime, xFrequency);
  }
  /* USER CODE END startButtonTask */
}

bool debugSockInstantHandler(SerLink::Frame &rxFrame, uint16_t* dataLen, char* data)
{
  uint8_t index = 0;
  if(rxFrame.data[index++] == 'R')
  {
    memset(data, 0, 10); // clear outgoing buffer
    strncpy(data, "OK", 2);
    *dataLen = 2;
    return true;
  }
  return false; // not handled
}

// Example payload: 0P5 = set pwm0 to 5% duty cycle
// Example payload: 0P45 = set pwm0 to 45% duty cycle
// Example payload: 0P100 = set pwm0 to 100% duty cycle
void pwm00SockRxCallback(const char* data, uint16_t dataLen)
{
  if(data == nullptr)
  {
    return;
  }
  if(dataLen < 3)
  {
    return;
  }
  uint8_t index = 0;
  if(data[index++] == '0')
  {
    if(data[index++] == 'P')
    {
      char percentStr[4] = {0};
      strncpy(percentStr, &data[index], 3);
      uint16_t percent = atoi(percentStr);
      pwm0.setPercent(percent);
    }
  }
}

// Example payload: 0P5    = set motor0 to 5% duty cycle
// Example payload: 0P23   = set motor0 to 23% duty cycle
// Example payload: 0P100  = set motor0 to 100% duty cycle
// Example payload: 0DF    = set motor0 direction forward
// Example payload: 0DR    = set motor0 direction reverse
// Example payload: 0DD    = set motor0 direction disable (idle)
// Example payload: 0F0    = set motor0 frequency to the 0th pwmFreqValues
//                           entry (100 Hz), 0F1 = 500 Hz, and so on
void motor0SockRxCallback(const char* data, uint16_t dataLen)
{
  if(data == nullptr)
  {
    return;
  }
  if(dataLen < 3)
  {
    return;
  }
  uint8_t index = 0;
  if(data[index++] == '0')
  {
    const char action = data[index++];

    if(action == 'P')
    {
      // Whatever follows is the percent - 1 to 3 digits. Bounded by
      // dataLen so a short payload can't be read past its end.
      uint16_t digits = dataLen - index;
      if(digits > 3)
      {
        digits = 3;
      }
      char percentStr[4] = {0};
      strncpy(percentStr, &data[index], digits);

      // Clamped here as well as in setPercent(), because the narrowing to
      // uint8_t would otherwise wrap a value like 300 down to a valid 44.
      int percent = atoi(percentStr);
      if(percent < 0)
      {
        percent = 0;
      }
      if(percent > 100)
      {
        percent = 100;
      }
      motor0.setPercent((uint8_t)percent);
    }
    else if(action == 'D')
    {
      switch(data[index])
      {
        case 'F': { motor0.setDirection(TC78H611FNG::forward); break; }
        case 'R': { motor0.setDirection(TC78H611FNG::reverse); break; }
        case 'D': { motor0.setDirection(TC78H611FNG::idle); break; }
        default: { break; } // unrecognised direction - ignore
      }
    }
    else if(action == 'F')
    {
      const char code = data[index];
      pwmFreqValues frequency;
      if(code >= '0' && code <= '9' &&
         PWM::frequencyFromIndex(code - '0', frequency))
      {
        motor0.setFrequency(frequency);
      }
    }
  }
}

void Error_Handler(void)
{
  /* USER CODE BEGIN Error_Handler_Debug */
  /* User can add his own implementation to report the HAL error return state */

  // set red led on
  HAL_GPIO_WritePin(GPIOD, GPIO_PIN_14, GPIO_PIN_SET);

  __disable_irq();
  while (1)
  {
  }
  /* USER CODE END Error_Handler_Debug */
}
